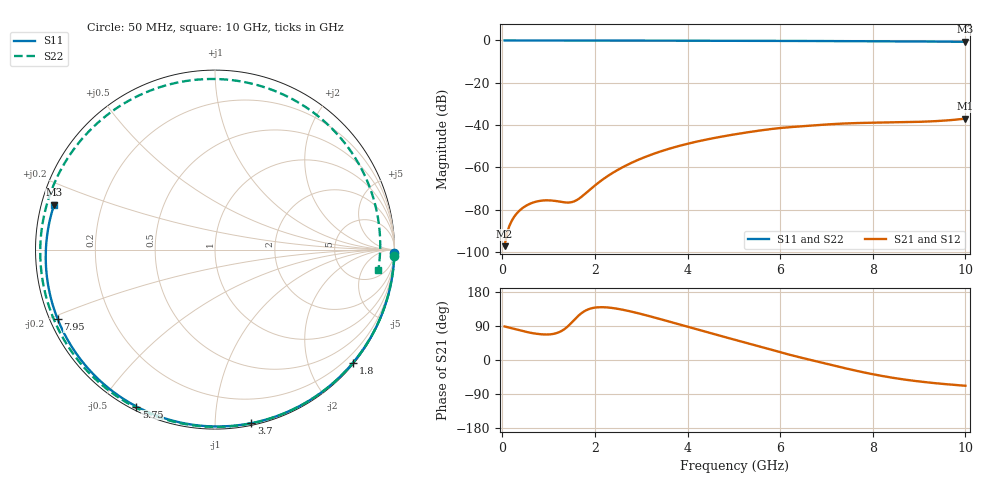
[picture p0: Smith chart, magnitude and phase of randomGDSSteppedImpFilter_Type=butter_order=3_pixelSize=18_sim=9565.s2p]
! freq	dB(S11)	phase(S11)	dB(S12)	phase(S12)
!  dB(S21)	phase(S21)	dB(S22)	phase(S22)
!S-par simulation data
#  GHz  S  DB  R 50
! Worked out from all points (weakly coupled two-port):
!   200 points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, 50 MHz to 10 GHz, reference 50 ohm
!   highest |S21| = -36.95 dB at 10 GHz (marker M1); lowest = -97.2 dB at 50 MHz (marker M2)
!   lowest |S11| = -0.6 dB at 10 GHz (marker M3), VSWR 27.85, Z = 1.83 + j6.84 ohm
!   |S11| at or under -10 dB: nowhere
!   |S22| runs from -0.8 to 0.0 dB; largest |S21 - S12| = 0
!   S11 on the Smith chart (normalised r, x): 50 MHz: open; 1.8 GHz: 0.03, -2.79; 3.7 GHz: 0.02, -1.23; 5.75 GHz: 0.02, -0.62; 7.95 GHz: 0.02, -0.21; 10 GHz: 0.04, +0.14
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0.05  -0.00 -1.1  -97.24 88.5  -97.24 88.5  -0.00 -2.2
0.4  -0.01 -8.9  -79.88 77.5  -79.88 77.5  -0.02 -17.0
0.6  -0.02 -13.3  -77.18 72.1  -77.18 72.1  -0.03 -25.4
0.8  -0.02 -17.7  -75.88 68.3  -75.88 68.3  -0.04 -33.7
1.45  -0.04 -31.9  -76.60 92.8  -76.60 92.8  -0.07 -59.7
1.75  -0.05 -38.3  -73.20 127.0  -73.20 127.0  -0.09 -71.2
1.8  -0.05 -39.4  -72.27 130.6  -72.27 130.6  -0.09 -73.1
2.15  -0.06 -46.8  -66.03 139.4  -66.03 139.4  -0.10 -85.9
2.5  -0.07 -54.1  -61.11 134.9  -61.11 134.9  -0.12 -98.3
3.4  -0.10 -72.3  -52.59 108.3  -52.59 108.3  -0.15 -128.2
3.7  -0.11 -78.2  -50.57 98.1  -50.57 98.1  -0.16 -137.7
4.4  -0.13 -91.7  -46.88 74.1  -46.88 74.1  -0.19 -159.2
5.05  -0.16 -103.8  -44.27 52.5  -44.27 52.5  -0.23 -179.0
5.75  -0.20 -116.6  -42.02 29.3  -42.02 29.3  -0.28 159.4
6.7  -0.26 -133.6  -40.18 -1.1  -40.18 -1.1  -0.35 128.3
7.35  -0.31 -145.3  -39.29 -20.2  -39.29 -20.2  -0.40 105.1
7.95  -0.37 -156.1  -38.90 -36.3  -38.90 -36.3  -0.46 82.0
8.35  -0.41 -163.4  -38.76 -45.3  -38.76 -45.3  -0.50 65.7
8.8  -0.46 -171.9  -38.59 -53.6  -38.59 -53.6  -0.56 46.5
9.25  -0.52 179.5  -38.26 -60.0  -38.26 -60.0  -0.62 26.6
9.65  -0.57 171.6  -37.71 -64.5  -37.71 -64.5  -0.69 8.6
10  -0.62 164.4  -36.95 -68.0  -36.95 -68.0  -0.75 -7.2
